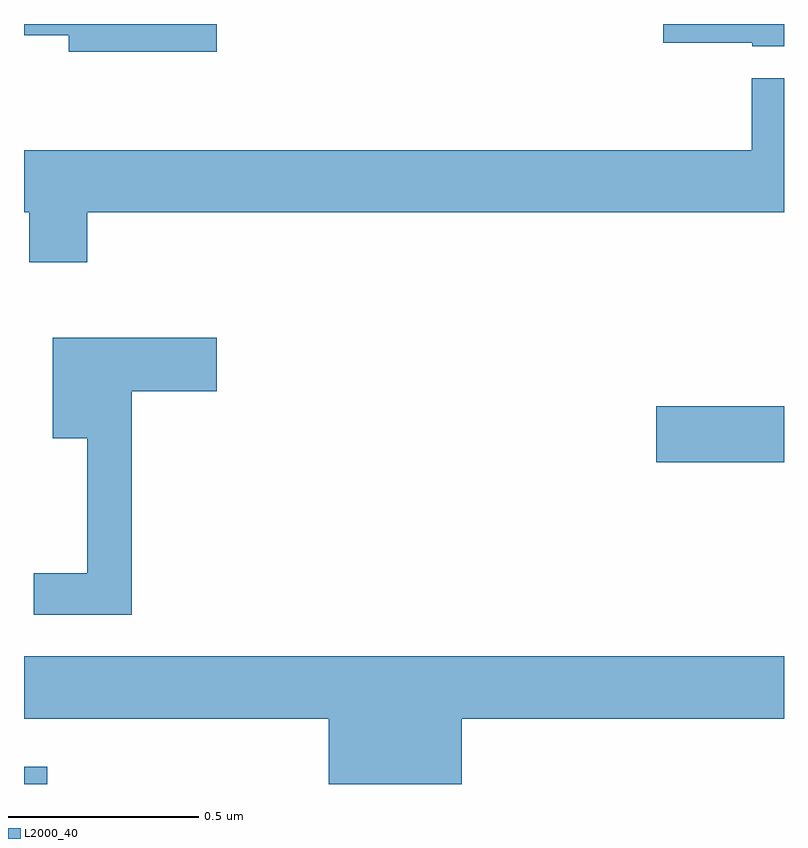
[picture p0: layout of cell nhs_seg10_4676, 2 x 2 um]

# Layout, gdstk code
import gdstk
lib = gdstk.Library(unit=1e-6, precision=1e-09)
def R(c, l, rs):  # rectangles x0, y0, x1, y1
    for r in rs: c.add(gdstk.rectangle(r[:2], r[2:], *l))
def P(c, l, *ps):  # polygons
    for p in ps: c.add(gdstk.Polygon(p, *l))
L2000_40 = (2000, 40)

nhs_seg10_4676 = lib.new_cell('nhs_seg10_4676')
R(nhs_seg10_4676, L2000_40, [(169,1277.5,169.061,1277.545), (170.664,1278.347,171,1278.494)])
P(nhs_seg10_4676, L2000_40, [(169.507,1279.5),(169,1279.5),(169,1279.47),(169.118,1279.47),(169.118,1279.427),(169.507,1279.427)],
  [(171,1279.5),(170.682,1279.5),(170.682,1279.451),(170.916,1279.451),(170.916,1279.442),(171,1279.442)],
  [(169.166,1279.004),(171,1279.004),(171,1279.357),(170.915,1279.357),(170.915,1279.168),(169,1279.168),(169,1279.004),(169.014,1279.004),(169.014,1278.873),(169.166,1278.873)],
  [(169.283,1278.533),(169.507,1278.533),(169.507,1278.675),(169.076,1278.675),(169.076,1278.41),(169.166,1278.41),(169.166,1278.055),(169.026,1278.055),(169.026,1277.946),(169.283,1277.946)],
  [(170.152,1277.672),(171,1277.672),(171,1277.836),(169,1277.836),(169,1277.672),(169.802,1277.672),(169.802,1277.5),(170.152,1277.5)])

lib.write_gds('nhs_seg10_4676.gds')
